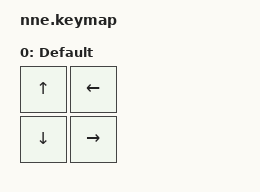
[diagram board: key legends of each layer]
/*
 * 
 *
 * SPDX-License-Identifier: MIT
 */

#include <behaviors.dtsi>
#include <dt-bindings/zmk/keys.h>

#define DEFAULT 0


/ {
    keymap {
        compatible = "zmk,keymap";
        label = "nne";

        default_layer {
            label = "Default";
            bindings = <
&kp UP_ARROW  &kp LEFT_ARROW
&kp DOWN_ARROW   &kp RIGHT_ARROW
            >;
        };
    };
};
